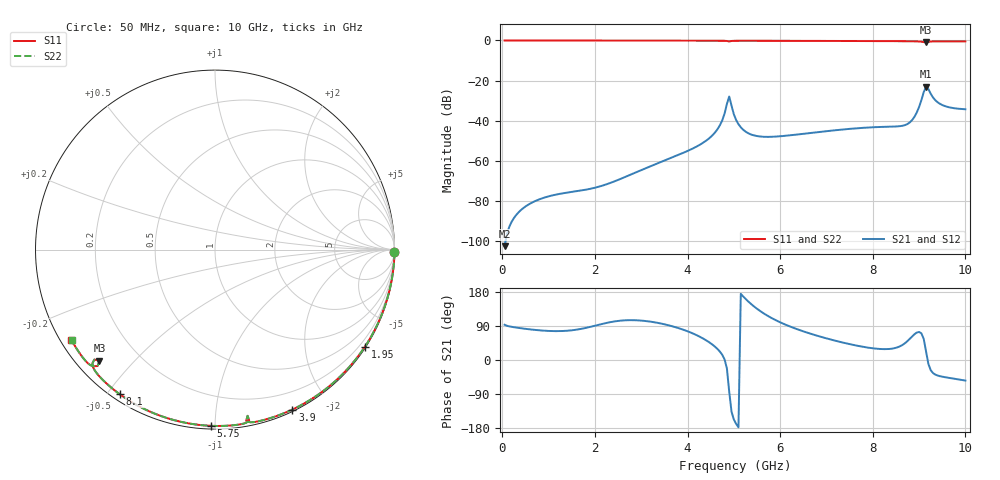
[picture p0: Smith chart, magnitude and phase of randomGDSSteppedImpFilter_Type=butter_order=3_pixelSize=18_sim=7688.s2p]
! freq	dB(S11)	phase(S11)	dB(S12)	phase(S12)
!  dB(S21)	phase(S21)	dB(S22)	phase(S22)
!S-par simulation data
#  GHz  S  DB  R 50
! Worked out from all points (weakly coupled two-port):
!   200 points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, 50 MHz to 10 GHz, reference 50 ohm
!   highest |S21| = -23.05 dB at 9.15 GHz (marker M1); lowest = -102.4 dB at 50 MHz (marker M2)
!   lowest |S11| = -1.0 dB at 9.15 GHz (marker M3), VSWR 17.70, Z = 3.28 - j20.1 ohm
!   |S11| at or under -10 dB: nowhere
!   |S22| runs from -1.0 to 0.0 dB; largest |S21 - S12| = 0
!   S11 on the Smith chart (normalised r, x): 50 MHz: open; 1.95 GHz: 0.03, -3.38; 3.9 GHz: 0.02, -1.59; 5.75 GHz: 0.02, -0.98; 8.1 GHz: 0.02, -0.54; 10 GHz: 0.03, -0.29
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0.05  -0.00 -0.9  -102.37 93.1  -102.37 93.1  -0.00 -0.9
0.7  -0.01 -12.0  -80.03 79.4  -80.03 79.4  -0.01 -12.0
1.75  -0.04 -29.7  -74.48 83.3  -74.48 83.3  -0.04 -29.7
1.95  -0.04 -33.0  -73.57 88.9  -73.57 88.9  -0.04 -33.0
3.4  -0.07 -56.4  -60.72 97.0  -60.72 97.0  -0.07 -56.4
3.9  -0.09 -64.2  -56.01 80.3  -56.01 80.3  -0.09 -64.2
4.35  -0.10 -71.1  -50.70 55.8  -50.70 55.8  -0.10 -71.1
4.6  -0.11 -75.0  -45.60 34.4  -45.60 34.4  -0.11 -75.0
4.75  -0.13 -77.5  -39.71 13.6  -39.71 13.6  -0.13 -77.5
4.9  -0.50 -78.9  -27.90 -83.7  -27.90 -83.7  -0.50 -78.9
5.05  -0.15 -80.7  -39.60 -168.8  -39.60 -168.8  -0.15 -80.7
5.3  -0.14 -84.7  -46.03 155.7  -46.03 155.7  -0.14 -84.7
5.75  -0.16 -91.2  -47.98 115.2  -47.98 115.2  -0.16 -91.2
6.7  -0.21 -104.5  -45.92 67.7  -45.92 67.7  -0.21 -104.5
8.1  -0.31 -123.4  -43.09 29.6  -43.09 29.6  -0.31 -123.4
8.35  -0.34 -126.8  -42.92 29.0  -42.92 29.0  -0.33 -126.7
8.7  -0.38 -131.6  -42.09 44.8  -42.09 44.8  -0.38 -131.6
8.85  -0.42 -133.8  -39.61 62.2  -39.61 62.2  -0.42 -133.8
9  -0.52 -136.3  -33.10 74.0  -33.10 74.0  -0.52 -136.3
9.15  -0.98 -136.1  -23.05 23.2  -23.05 23.2  -0.98 -136.1
9.45  -0.43 -140.0  -31.52 -42.7  -31.52 -42.7  -0.43 -140.0
10  -0.49 -147.8  -34.24 -54.3  -34.24 -54.3  -0.49 -147.8
